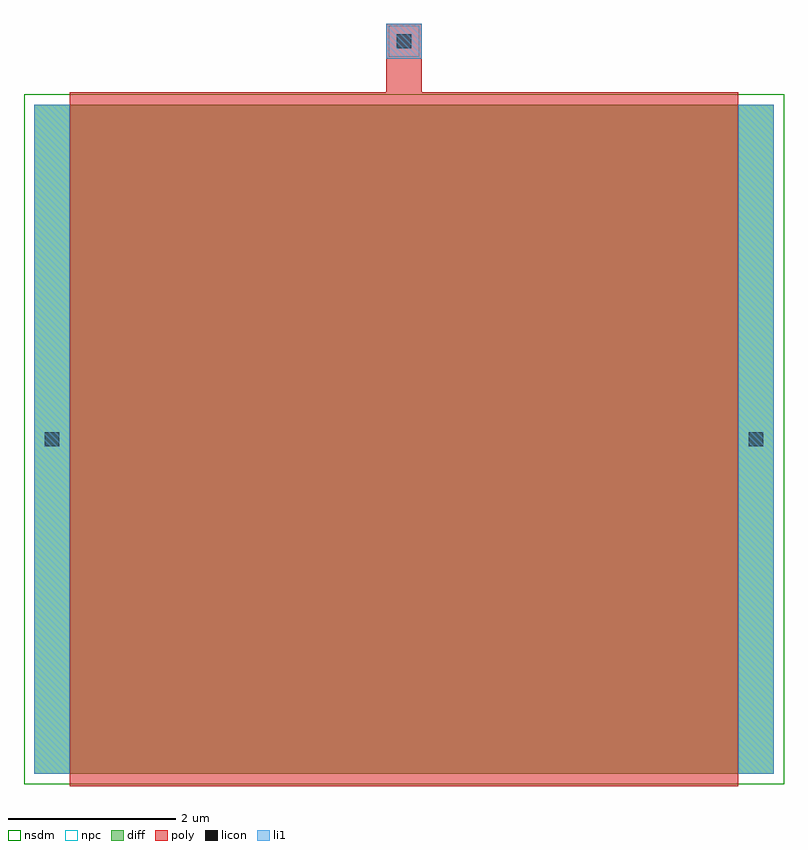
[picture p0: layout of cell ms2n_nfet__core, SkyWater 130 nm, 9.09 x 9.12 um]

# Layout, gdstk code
import gdstk
lib = gdstk.Library(unit=1e-6, precision=1e-09)
def R(c, l, rs):  # rectangles x0, y0, x1, y1
    for r in rs: c.add(gdstk.rectangle(r[:2], r[2:], *l))
diff = (65, 20)
poly = (66, 20)
licon = (66, 44)
li1 = (67, 20)
nsdm = (93, 44)
npc = (95, 20)

ms2n_nfet__core = lib.new_cell('ms2n_nfet__core')
R(ms2n_nfet__core, diff, [(0,0,8.84,8)])
R(ms2n_nfet__core, poly, [(0.42,-0.15,8.42,8), (0.42,8,8.42,8.15), (0.42,8,8.42,8.15), (4.21,8.15,4.63,8.97)])
R(ms2n_nfet__core, licon, [(0.125,3.915,0.295,4.085), (8.545,3.915,8.715,4.085), (4.335,8.675,4.505,8.845)])
R(ms2n_nfet__core, li1, [(0,0,0.42,8), (8.42,0,8.84,8), (4.21,8.55,4.63,8.97)])
R(ms2n_nfet__core, nsdm, [(-0.125,-0.125,8.965,8.125)])
R(ms2n_nfet__core, npc, [(4.235,8.575,4.605,8.945)])

lib.write_gds('ms2n_nfet__core.gds')
